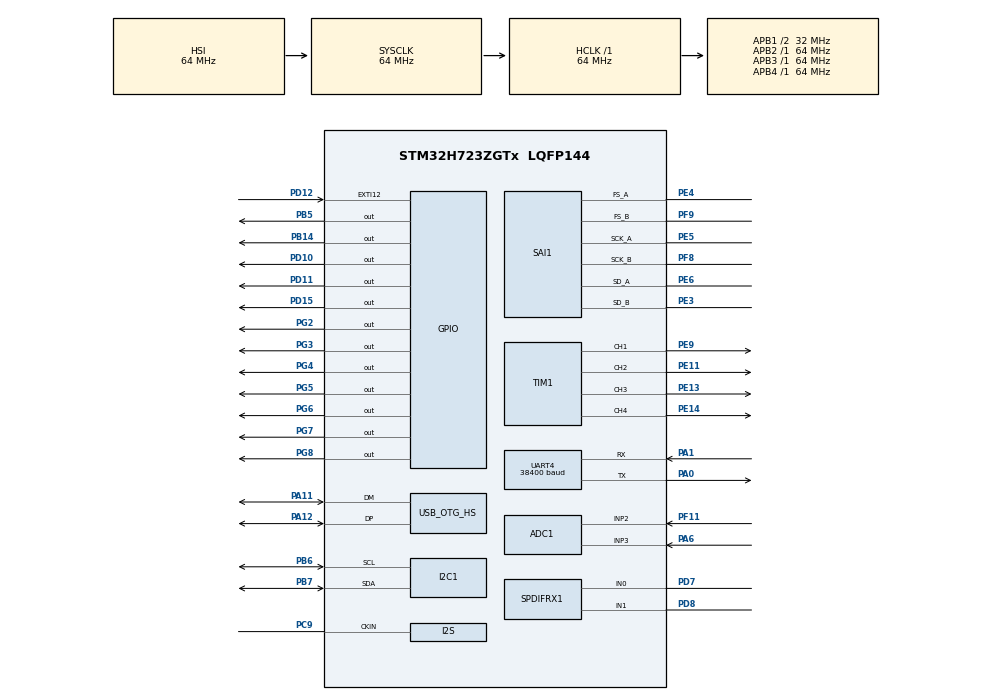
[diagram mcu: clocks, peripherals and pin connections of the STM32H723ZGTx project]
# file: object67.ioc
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ADC1.Channel-1\#ChannelRegularConversion=ADC_CHANNEL_2
ADC1.NbrOfConversionFlag=1
ADC1.OffsetNumber-1\#ChannelRegularConversion=ADC_OFFSET_NONE
ADC1.OffsetSignedSaturation-1\#ChannelRegularConversion=DISABLE
ADC1.Rank-1\#ChannelRegularConversion=1
ADC1.SamplingTime-1\#ChannelRegularConversion=ADC_SAMPLETIME_1CYCLE_5
ADC1.master=1
CORTEX_M7.default_mode_Activation=1
I2C1.Timing=0x00707CBB
Mcu.Family=STM32H7
Mcu.Name=STM32H723ZGTx
Mcu.Package=LQFP144
NVIC.OTG_HS_IRQn=true\:0\:0\:false\:false\:true\:false\:true\:true
NVIC.PriorityGroup=NVIC_PRIORITYGROUP_4
PA0.Mode=Asynchronous
PA0.Signal=UART4_TX
PA1.Mode=Asynchronous
PA1.Signal=UART4_RX
PA11.Mode=Device_Only_FS
PA11.Signal=USB_OTG_HS_DM
PA12.Mode=Device_Only_FS
PA12.Signal=USB_OTG_HS_DP
PA13(JTMS/SWDIO).Mode=Serial_Wire
PA13(JTMS/SWDIO).Signal=DEBUG_JTMS-SWDIO
PA14(JTCK/SWCLK).Mode=Serial_Wire
PA14(JTCK/SWCLK).Signal=DEBUG_JTCK-SWCLK
PA6.Signal=ADCx_INP3
PB14.Signal=GPIO_Output
PB5.Signal=GPIO_Output
PB6.Mode=I2C
PB6.Signal=I2C1_SCL
PB7.Mode=I2C
PB7.Signal=I2C1_SDA
PC9.Mode=Audio_ClockIn
PC9.Signal=I2S_CKIN
PD10.Signal=GPIO_Output
PD11.Signal=GPIO_Output
PD12.Signal=GPXTI12
PD15.Signal=GPIO_Output
PD7.Mode=IN0
PD7.Signal=SPDIFRX1_IN0
PD8.Mode=IN1
PD8.Signal=SPDIFRX1_IN1
PE11.Signal=S_TIM1_CH2
PE13.Signal=S_TIM1_CH3
PE14.Signal=S_TIM1_CH4
PE3.Mode=SAI_B_Master
PE3.Signal=SAI1_SD_B
PE4.Mode=SAI_A_Master
PE4.Signal=SAI1_FS_A
PE5.Mode=SAI_A_Master
PE5.Signal=SAI1_SCK_A
PE6.Mode=SAI_A_Master
PE6.Signal=SAI1_SD_A
PE9.Signal=S_TIM1_CH1
PF11.Mode=IN2-Single-Ended
PF11.Signal=ADC1_INP2
PF8.Mode=SAI_B_Master
PF8.Signal=SAI1_SCK_B
PF9.Mode=SAI_B_Master
PF9.Signal=SAI1_FS_B
PG2.Signal=GPIO_Output
PG3.Signal=GPIO_Output
PG4.Signal=GPIO_Output
PG5.Signal=GPIO_Output
PG6.Signal=GPIO_Output
PG7.Signal=GPIO_Output
PG8.Signal=GPIO_Output
ProjectManager.HeapSize=0x200
ProjectManager.StackSize=0x400
ProjectManager.TargetToolchain=CMake
RCC.ADCFreq_Value=38400000
RCC.APB1Freq_Value=32000000
RCC.APB2Freq_Value=64000000
RCC.APB3Freq_Value=64000000
RCC.APB4Freq_Value=64000000
RCC.CortexFreq_Value=64000000
RCC.D2PPRE1=RCC_APB1_DIV2
RCC.DIVM1=4
RCC.DIVM2=4
RCC.DIVN1=12
RCC.DIVN2=12
RCC.DIVP2=5
RCC.EXTERNAL_CLOCK_VALUE=49152000
RCC.HCLKFreq_Value=64000000
RCC.PLL2FRACN=0
RCC.PLLFRACN=0
RCC.SAI1CLockSelection=RCC_SAI1CLKSOURCE_PIN
RCC.SYSCLKFreq_VALUE=64000000
RCC.USBCLockSelection=RCC_USBCLKSOURCE_HSI48
RCC.USBFreq_Value=48000000
SAI1.AudioMode-SAI_A_Master=SAI_MODEMASTER_TX
SAI1.AudioMode-SAI_B_Master=SAI_MODEMASTER_RX
SAI1.BasicDataSize-SAI_A_Master=SAI_PROTOCOL_DATASIZE_32BIT
SAI1.BasicDataSize-SAI_B_Master=SAI_PROTOCOL_DATASIZE_32BIT
SAI1.ErrorAudioFreq-SAI_A_Master=0.0 %
SAI1.ErrorAudioFreq-SAI_B_Master=0.0 %
SAI1.InitProtocol-SAI_A_Master=Enable
SAI1.InitProtocol-SAI_B_Master=Enable
SAI1.Instance-SAI_A_Master=SAI$Index_Block_A
SAI1.Instance-SAI_B_Master=SAI$Index_Block_B
SAI1.MckOutput-SAI_A_Master=SAI_MCK_OUTPUT_DISABLE
SAI1.MckOutput-SAI_B_Master=SAI_MCK_OUTPUT_DISABLE
SAI1.RealAudioFreq-SAI_A_Master=192.0 KHz
SAI1.RealAudioFreq-SAI_B_Master=192.0 KHz
SAI1.VirtualMode-SAI_A_Master=VM_MASTER
SAI1.VirtualMode-SAI_B_Master=VM_MASTER
SAI1.VirtualProtocol-SAI_A_BASIC=VM_BASIC_PROTOCOL
SAI1.VirtualProtocol-SAI_B_BASIC=VM_BASIC_PROTOCOL
SH.ADCx_INP3.0=ADC1_INP3,IN3-Single-Ended
SH.S_TIM1_CH1.0=TIM1_CH1,PWM Generation1 CH1
SH.S_TIM1_CH2.0=TIM1_CH2,PWM Generation2 CH2
SH.S_TIM1_CH3.0=TIM1_CH3,PWM Generation3 CH3
SH.S_TIM1_CH4.0=TIM1_CH4,PWM Generation4 CH4
SPDIFRX1.StereoMode=SPDIFRX_STEREOMODE_ENABLE
TIM1.Channel-PWM\ Generation1\ CH1=TIM_CHANNEL_1
TIM1.Channel-PWM\ Generation2\ CH2=TIM_CHANNEL_2
TIM1.Channel-PWM\ Generation3\ CH3=TIM_CHANNEL_3
TIM1.Channel-PWM\ Generation4\ CH4=TIM_CHANNEL_4
UART4.BaudRate=38400
UART4.Mode=MODE_TX
USB_DEVICE.CLASS_NAME_HS=AUDIO
USB_DEVICE.USBD_AUDIO_FREQ=48000
USB_DEVICE.VirtualMode=Audio
USB_DEVICE.VirtualModeHS=Audio_HS
USB_OTG_HS.VirtualMode-Device_Only_FS=Device_Only_FS
VP_MEMORYMAP_VS_MEMORYMAP.Mode=CurAppReg
VP_SAI1_VP_$IpInstance_SAIA_SAI_BASIC.Mode=SAI_A_BASIC
VP_SAI1_VP_$IpInstance_SAIB_SAI_BASIC.Mode=SAI_B_BASIC
VP_TIM1_VS_ClockSourceINT.Mode=Internal
VP_USB_DEVICE_VS_USB_DEVICE_AUDIO_HS.Mode=AUDIO_HS
board=custom

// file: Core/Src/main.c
/* USER CODE BEGIN Header */
/**
  ******************************************************************************
  * @file           : main.c
  * @brief          : Main program body
  ******************************************************************************
  * @attention
  *
  * Copyright (c) 2026 STMicroelectronics.
  * All rights reserved.
  *
  * This software is licensed under terms that can be found in the LICENSE file
  * in the root directory of this software component.
  * If no LICENSE file comes with this software, it is provided AS-IS.
  *
  ******************************************************************************
  */
/* USER CODE END Header */
#include "main.h"
#include "adc.h"
#include "i2c.h"
#include "sai.h"
#include "spdifrx.h"
#include "tim.h"
#include "usart.h"
#include "usb_device.h"
#include "gpio.h"

void SystemClock_Config(void);
static void MPU_Config(void);

int main(void)
{

  /* MPU Configuration--------------------------------------------------------*/
  MPU_Config();

  /* MCU Configuration--------------------------------------------------------*/

  /* Reset of all peripherals, Initializes the Flash interface and the Systick. */
  HAL_Init();

  /* Configure the system clock */
  SystemClock_Config();

  /* Initialize all configured peripherals */
  MX_GPIO_Init();
  MX_SPDIFRX1_Init();
  MX_USB_DEVICE_Init();
  MX_ADC1_Init();
  MX_I2C1_Init();
  MX_SAI1_Init();
  MX_TIM1_Init();
  MX_UART4_Init();
  /* USER CODE BEGIN 2 */
  uint8_t init[] = {0x1B, 0x40};
  HAL_StatusTypeDef err = HAL_UART_Transmit(&huart4, init, 2, 0xFFFF);

  HAL_Delay(3);

  uint8_t bright[] = {0x1F, 0x58, 8};
  err = HAL_UART_Transmit(&huart4, bright, 3, 0xFFFF);

  HAL_Delay(3);

  uint8_t screensaver[] = {0x1F, 0x28, 0x61, 0x40, 1};
  err = HAL_UART_Transmit(&huart4, screensaver, 8, 0xFFFF);

  HAL_Delay(3);

  uint8_t test[] = "hello gamers.";
//  uint8_t test[] = "Hi Nikita!!!!";
  err = HAL_UART_Transmit(&huart4, test, 13, 0xFFFF);

  HAL_Delay(3);

  uint8_t blink[] = {0x1F, 0x28, 0x61, 0x11, 1, 50, 50, 5};
  err = HAL_UART_Transmit(&huart4, blink, 8, 0xFFFF);

  /* USER CODE END 2 */

  /* Infinite loop */
  while (1)
  {

    /* USER CODE BEGIN 3 */
	  HAL_Delay(1000);
	  HAL_GPIO_TogglePin(GPIOB, GPIO_PIN_5);
	  HAL_GPIO_TogglePin(GPIOB, GPIO_PIN_14);

  }
  /* USER CODE END 3 */
}

void SystemClock_Config(void)
{
  RCC_OscInitTypeDef RCC_OscInitStruct = {0};
  RCC_ClkInitTypeDef RCC_ClkInitStruct = {0};

  /** Supply configuration update enable
  */
  HAL_PWREx_ConfigSupply(PWR_LDO_SUPPLY);

  /** Configure the main internal regulator output voltage
  */
  __HAL_PWR_VOLTAGESCALING_CONFIG(PWR_REGULATOR_VOLTAGE_SCALE3);

  while(!__HAL_PWR_GET_FLAG(PWR_FLAG_VOSRDY)) {}

  /** Initializes the RCC Oscillators according to the specified parameters
  * in the RCC_OscInitTypeDef structure.
  */
  RCC_OscInitStruct.OscillatorType = RCC_OSCILLATORTYPE_HSI48|RCC_OSCILLATORTYPE_HSI;
  RCC_OscInitStruct.HSIState = RCC_HSI_DIV1;
  RCC_OscInitStruct.HSICalibrationValue = 64;
  RCC_OscInitStruct.HSI48State = RCC_HSI48_ON;
  RCC_OscInitStruct.PLL.PLLState = RCC_PLL_ON;
  RCC_OscInitStruct.PLL.PLLSource = RCC_PLLSOURCE_HSI;
  RCC_OscInitStruct.PLL.PLLM = 4;
  RCC_OscInitStruct.PLL.PLLN = 12;
  RCC_OscInitStruct.PLL.PLLP = 2;
  RCC_OscInitStruct.PLL.PLLQ = 2;
  RCC_OscInitStruct.PLL.PLLR = 2;
  RCC_OscInitStruct.PLL.PLLRGE = RCC_PLL1VCIRANGE_3;
  RCC_OscInitStruct.PLL.PLLVCOSEL = RCC_PLL1VCOWIDE;
  RCC_OscInitStruct.PLL.PLLFRACN = 0;
  if (HAL_RCC_OscConfig(&RCC_OscInitStruct) != HAL_OK)
  {
    Error_Handler();
  }

  /** Initializes the CPU, AHB and APB buses clocks
  */
  RCC_ClkInitStruct.ClockType = RCC_CLOCKTYPE_HCLK|RCC_CLOCKTYPE_SYSCLK
                              |RCC_CLOCKTYPE_PCLK1|RCC_CLOCKTYPE_PCLK2
                              |RCC_CLOCKTYPE_D3PCLK1|RCC_CLOCKTYPE_D1PCLK1;
  RCC_ClkInitStruct.SYSCLKSource = RCC_SYSCLKSOURCE_HSI;
  RCC_ClkInitStruct.SYSCLKDivider = RCC_SYSCLK_DIV1;
  RCC_ClkInitStruct.AHBCLKDivider = RCC_HCLK_DIV1;
  RCC_ClkInitStruct.APB3CLKDivider = RCC_APB3_DIV1;
  RCC_ClkInitStruct.APB1CLKDivider = RCC_APB1_DIV2;
  RCC_ClkInitStruct.APB2CLKDivider = RCC_APB2_DIV1;
  RCC_ClkInitStruct.APB4CLKDivider = RCC_APB4_DIV1;

  if (HAL_RCC_ClockConfig(&RCC_ClkInitStruct, FLASH_LATENCY_1) != HAL_OK)
  {
    Error_Handler();
  }
}

 /* MPU Configuration */

void MPU_Config(void)
{
  MPU_Region_InitTypeDef MPU_InitStruct = {0};

  /* Disables the MPU */
  HAL_MPU_Disable();

  /** Initializes and configures the Region and the memory to be protected
  */
  MPU_InitStruct.Enable = MPU_REGION_ENABLE;
  MPU_InitStruct.Number = MPU_REGION_NUMBER0;
  MPU_InitStruct.BaseAddress = 0x0;
  MPU_InitStruct.Size = MPU_REGION_SIZE_4GB;
  MPU_InitStruct.SubRegionDisable = 0x87;
  MPU_InitStruct.TypeExtField = MPU_TEX_LEVEL0;
  MPU_InitStruct.AccessPermission = MPU_REGION_NO_ACCESS;
  MPU_InitStruct.DisableExec = MPU_INSTRUCTION_ACCESS_DISABLE;
  MPU_InitStruct.IsShareable = MPU_ACCESS_SHAREABLE;
  MPU_InitStruct.IsCacheable = MPU_ACCESS_NOT_CACHEABLE;
  MPU_InitStruct.IsBufferable = MPU_ACCESS_NOT_BUFFERABLE;

  HAL_MPU_ConfigRegion(&MPU_InitStruct);
  /* Enables the MPU */
  HAL_MPU_Enable(MPU_PRIVILEGED_DEFAULT);

}

void Error_Handler(void)
{
  __disable_irq();
  while (1)
  {
  }
}
